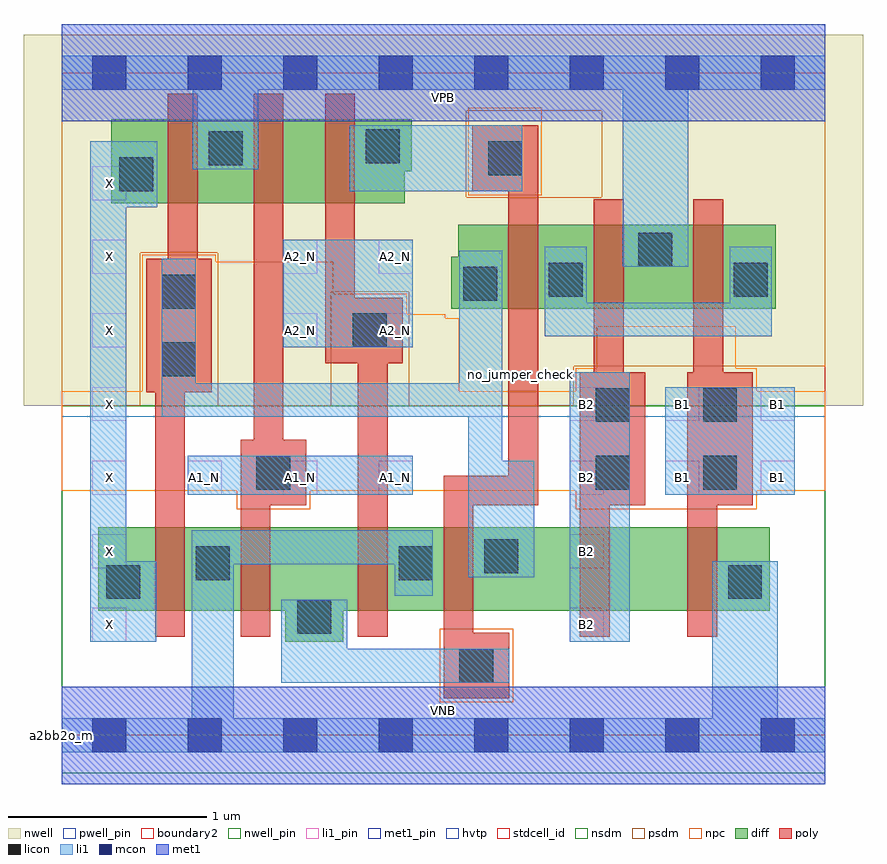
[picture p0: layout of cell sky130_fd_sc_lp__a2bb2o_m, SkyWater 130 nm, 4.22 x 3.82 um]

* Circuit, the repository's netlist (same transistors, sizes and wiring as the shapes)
* Copyright 2020 The SkyWater PDK Authors
*
* Licensed under the Apache License, Version 2.0 (the "License");
* you may not use this file except in compliance with the License.
* You may obtain a copy of the License at
*
*     https://www.apache.org/licenses/LICENSE-2.0
*
* Unless required by applicable law or agreed to in writing, software
* distributed under the License is distributed on an "AS IS" BASIS,
* WITHOUT WARRANTIES OR CONDITIONS OF ANY KIND, either express or implied.
* See the License for the specific language governing permissions and
* limitations under the License.
*
* SPDX-License-Identifier: Apache-2.0

.SUBCKT sky130_fd_sc_lp__a2bb2o_m A1_N A2_N B1 B2 VGND VNB VPB VPWR X
*.PININFO A1_N:I A2_N:I B1:I B2:I VGND:I VNB:I VPB:I VPWR:I X:O
MMIN2 X y VGND VNB sky130_fd_pr__nfet_01v8 m=1 w=0.42U l=0.15U mult=1 sa=0.265
+ sb=0.265 sd=0.28 area=0.063 perim=1.14
MMNnor0 inor A1_N VGND VNB sky130_fd_pr__nfet_01v8 m=1 w=0.42U l=0.15U mult=1 sa=0.265
+ sb=0.265 sd=0.28 area=0.063 perim=1.14
MMNnor1 inor A2_N VGND VNB sky130_fd_pr__nfet_01v8 m=1 w=0.42U l=0.15U mult=1 sa=0.265
+ sb=0.265 sd=0.28 area=0.063 perim=1.14
MMNaoi10 VGND B1 sndNB1 VNB sky130_fd_pr__nfet_01v8 m=1 w=0.42U l=0.15U mult=1
+ sa=0.265 sb=0.265 sd=0.28 area=0.063 perim=1.14
MMNaoi11 sndNB1 B2 y VNB sky130_fd_pr__nfet_01v8 m=1 w=0.42U l=0.15U mult=1 sa=0.265
+ sb=0.265 sd=0.28 area=0.063 perim=1.14
MMNaoi20 y inor VGND VNB sky130_fd_pr__nfet_01v8 m=1 w=0.42U l=0.15U mult=1 sa=0.265
+ sb=0.265 sd=0.28 area=0.063 perim=1.14
MMIP2 X y VPWR VPB sky130_fd_pr__pfet_01v8_hvt m=1 w=0.42U l=0.15U mult=1 sa=0.265
+ sb=0.265 sd=0.28 area=0.063 perim=1.14
MMPnor0 VPWR A1_N sndPA1N VPB sky130_fd_pr__pfet_01v8_hvt m=1 w=0.42U l=0.15U mult=1
+ sa=0.265 sb=0.265 sd=0.28 area=0.063 perim=1.14
MMPnor1 sndPA1N A2_N inor VPB sky130_fd_pr__pfet_01v8_hvt m=1 w=0.42U l=0.15U mult=1
+ sa=0.265 sb=0.265 sd=0.28 area=0.063 perim=1.14
MMPaoi10 pmid B1 VPWR VPB sky130_fd_pr__pfet_01v8_hvt m=1 w=0.42U l=0.15U mult=1
+ sa=0.265 sb=0.265 sd=0.28 area=0.063 perim=1.14
MMPaoi11 pmid B2 VPWR VPB sky130_fd_pr__pfet_01v8_hvt m=1 w=0.42U l=0.15U mult=1
+ sa=0.265 sb=0.265 sd=0.28 area=0.063 perim=1.14
MMPaoi20 y inor pmid VPB sky130_fd_pr__pfet_01v8_hvt m=1 w=0.42U l=0.15U mult=1
+ sa=0.265 sb=0.265 sd=0.28 area=0.063 perim=1.14
.ENDS sky130_fd_sc_lp__a2bb2o_m

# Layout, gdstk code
import gdstk
lib = gdstk.Library(unit=1e-6, precision=1e-09)
def R(c, l, rs):  # rectangles x0, y0, x1, y1
    for r in rs: c.add(gdstk.rectangle(r[:2], r[2:], *l))
def A(c, l, x, y, w, h, nx, ny, dx, dy):  # array of equal rectangles
    R(c, l, [(x+i*dx, y+j*dy, x+i*dx+w, y+j*dy+h) for i in range(nx) for j in range(ny)])
def P(c, l, *ps):  # polygons
    for p in ps: c.add(gdstk.Polygon(p, *l))
nwell_pin = (64, 16)
nwell = (64, 20)
diff = (65, 20)
poly = (66, 20)
licon = (66, 44)
li1_pin = (67, 16)
li1 = (67, 20)
mcon = (67, 44)
met1_pin = (68, 16)
met1 = (68, 20)
hvtp = (78, 44)
stdcell_id = (81, 4)
nsdm = (93, 44)
psdm = (94, 20)
npc = (95, 20)
pwell_pin = (122, 16)
boundary2 = (236, 0)

sky130_fd_sc_lp__a2bb2o_ = lib.new_cell('sky130_fd_sc_lp__a2bb2o_m')
R(sky130_fd_sc_lp__a2bb2o_, nwell_pin, [(0,3.085,3.84,3.33)])
R(sky130_fd_sc_lp__a2bb2o_, nwell, [(-0.19,1.655,4.03,3.52)])
P(sky130_fd_sc_lp__a2bb2o_, diff, [(1.76,3.095),(0.25,3.095),(0.25,2.675),(1.725,2.675),(1.725,2.835),(1.76,2.835)],
  [(3.56,1.045),(0.185,1.045),(0.185,0.625),(1.125,0.625),(1.125,0.47),(1.415,0.47),(1.415,0.625),(3.56,0.625)],
  [(3.59,2.565),(1.995,2.565),(1.995,2.405),(1.96,2.405),(1.96,2.145),(3.59,2.145)])
P(sky130_fd_sc_lp__a2bb2o_, poly, [(0.755,2.395),(0.685,2.395),(0.685,3.225),(0.535,3.225),(0.535,2.395),(0.425,2.395),(0.425,1.725),(0.47,1.725),(0.47,0.495),(0.62,0.495),(0.62,1.725),(0.755,1.725)],
  [(1.23,1.485),(1.115,1.485),(1.115,3.225),(0.965,3.225),(0.965,1.485),(0.9,1.485),(0.9,0.495),(1.05,0.495),(1.05,1.155),(1.23,1.155)],
  [(1.715,2.2),(1.475,2.2),(1.475,3.225),(1.325,3.225),(1.325,1.87),(1.49,1.87),(1.49,0.495),(1.64,0.495),(1.64,1.87),(1.715,1.87)],
  [(2.395,3.065),(2.065,3.065),(2.065,2.735),(2.245,2.735),(2.245,1.305),(1.92,1.305),(1.92,0.185),(2.25,0.185),(2.25,0.515),(2.07,0.515),(2.07,1.155),(2.395,1.155)],
  [(2.935,1.825),(2.825,1.825),(2.825,2.695),(2.675,2.695),(2.675,1.825),(2.605,1.825),(2.605,0.495),(2.755,0.495),(2.755,1.155),(2.935,1.155)],
  [(3.475,1.825),(3.325,1.825),(3.325,2.695),(3.175,2.695),(3.175,1.825),(3.145,1.825),(3.145,0.495),(3.295,0.495),(3.295,1.155),(3.475,1.155)])
R(sky130_fd_sc_lp__a2bb2o_, licon, [(2,0.265,2.17,0.435), (1.185,0.51,1.355,0.68), (0.225,0.685,0.395,0.855), (3.35,0.685,3.52,0.855), (0.675,0.78,0.845,0.95), (1.695,0.78,1.865,0.95), (2.125,0.815,2.295,0.985), (0.98,1.235,1.15,1.405), (2.685,1.235,2.855,1.405), (3.225,1.235,3.395,1.405), (2.685,1.575,2.855,1.745), (3.225,1.575,3.395,1.745), (0.505,1.805,0.675,1.975), (1.465,1.95,1.635,2.12), (0.505,2.145,0.675,2.315), (2.02,2.185,2.19,2.355), (2.45,2.205,2.62,2.375), (3.38,2.205,3.55,2.375), (2.9,2.355,3.07,2.525), (0.29,2.735,0.46,2.905), (2.145,2.815,2.315,2.985), (0.74,2.865,0.91,3.035), (1.53,2.875,1.7,3.045)])
A(sky130_fd_sc_lp__a2bb2o_, li1_pin, 0.155, 1.21, 0.17, 0.17, 4, 1, 0.48, 0)
A(sky130_fd_sc_lp__a2bb2o_, li1_pin, 2.555, 1.21, 0.17, 0.17, 3, 2, 0.48, 0.37)
A(sky130_fd_sc_lp__a2bb2o_, li1_pin, 0.155, 1.58, 0.17, 0.17, 1, 4, 0, 0.37)
R(sky130_fd_sc_lp__a2bb2o_, li1_pin, [(0.155,0.47,0.325,0.64), (2.555,0.47,2.725,0.64), (0.155,0.84,0.325,1.01), (2.555,0.84,2.725,1.01), (1.115,1.95,1.285,2.12), (1.595,1.95,1.765,2.12), (1.115,2.32,1.285,2.49), (1.595,2.32,1.765,2.49)])
R(sky130_fd_sc_lp__a2bb2o_, li1, [(2.555,0.47,2.855,1.825), (0.635,1.21,1.765,1.405), (3.035,1.21,3.685,1.75), (1.115,1.95,1.765,2.49), (1.45,2.735,2.315,3.065)])
P(sky130_fd_sc_lp__a2bb2o_, li1, [(2.82,2.355),(2.82,3.245),(0.99,3.245),(0.99,2.845),(0.66,2.845),(0.66,3.245),(0,3.245),(0,3.415),(3.84,3.415),(3.84,3.245),(3.15,3.245),(3.15,2.355)],
  [(3.27,0.085),(3.27,0.875),(3.6,0.875),(3.6,0.085),(3.84,0.085),(3.84,-0.085),(0,-0.085),(0,0.085),(0.655,0.085),(0.655,1.03),(1.865,1.03),(1.865,0.7),(1.675,0.7),(1.675,0.86),(0.865,0.86),(0.865,0.085)],
  [(2.045,0.795),(2.045,1.6),(0.505,1.6),(0.505,2.395),(0.675,2.395),(0.675,1.77),(2,1.77),(2,2.435),(2.215,2.435),(2.215,1.38),(2.375,1.38),(2.375,0.795)],
  [(1.105,0.265),(1.105,0.68),(1.435,0.68),(1.435,0.435),(2.25,0.435),(2.25,0.265)],
  [(0.145,0.47),(0.145,2.985),(0.48,2.985),(0.48,2.655),(0.325,2.655),(0.325,0.875),(0.475,0.875),(0.475,0.47)],
  [(3.36,2.175),(3.36,2.455),(3.57,2.455),(3.57,2.005),(2.43,2.005),(2.43,2.455),(2.64,2.455),(2.64,2.175)])
A(sky130_fd_sc_lp__a2bb2o_, mcon, 0.155, -0.085, 0.17, 0.17, 8, 2, 0.48, 3.33)
R(sky130_fd_sc_lp__a2bb2o_, met1_pin, [(0,0,3.84,0.245), (0,3.085,3.84,3.33)])
R(sky130_fd_sc_lp__a2bb2o_, met1, [(0,-0.245,3.84,0.245), (0,3.085,3.84,3.575)])
R(sky130_fd_sc_lp__a2bb2o_, hvtp, [(0,1.6,3.84,3.33)])
R(sky130_fd_sc_lp__a2bb2o_, stdcell_id, [(0,0,3.84,3.33)])
R(sky130_fd_sc_lp__a2bb2o_, nsdm, [(0,-0.19,3.84,1.655)])
P(sky130_fd_sc_lp__a2bb2o_, psdm, [(3.84,3.52),(2.715,3.52),(2.715,2.705),(2.035,2.705),(2.035,3.14),(2.715,3.14),(2.715,3.52),(0,3.52),(0,1.655),(0.395,1.655),(0.395,2.425),(0.785,2.425),(0.785,1.655),(1.355,1.655),(1.355,2.23),(1.745,2.23),(1.745,1.655),(2.575,1.655),(2.575,1.855),(3.84,1.855)])
R(sky130_fd_sc_lp__a2bb2o_, npc, [(1.9,0.165,2.27,0.535), (2.045,2.715,2.415,3.155)])
P(sky130_fd_sc_lp__a2bb2o_, npc, [(3.84,1.73),(3.495,1.73),(3.495,1.845),(3.39,1.845),(3.39,2.055),(2.69,2.055),(2.69,1.845),(2.585,1.845),(2.585,1.73),(2,1.73),(2,2.095),(1.93,2.095),(1.93,2.115),(1.735,2.115),(1.735,2.22),(1.365,2.22),(1.365,2.38),(0.775,2.38),(0.775,2.415),(0.405,2.415),(0.405,1.73),(0,1.73),(0,1.23),(0.88,1.23),(0.88,1.135),(1.25,1.135),(1.25,1.23),(2.585,1.23),(2.585,1.135),(3.495,1.135),(3.495,1.23),(3.84,1.23)])
R(sky130_fd_sc_lp__a2bb2o_, pwell_pin, [(0,0,3.84,0.245)])
R(sky130_fd_sc_lp__a2bb2o_, boundary2, [(0,0,3.84,3.33)])
sky130_fd_sc_lp__a2bb2o_.add(gdstk.Label('VNB', (1.92,0.123), layer=64, texttype=59))
sky130_fd_sc_lp__a2bb2o_.add(gdstk.Label('VPB', (1.92,3.208), layer=64, texttype=5))
sky130_fd_sc_lp__a2bb2o_.add(gdstk.Label('a2bb2o_m', (0,0), layer=83, texttype=44))
sky130_fd_sc_lp__a2bb2o_.add(gdstk.Label('no_jumper_check', (2.305,1.815), layer=83, texttype=44))
sky130_fd_sc_lp__a2bb2o_.add(gdstk.Label('VPWR', (1.92,3.208), layer=68, texttype=5))
sky130_fd_sc_lp__a2bb2o_.add(gdstk.Label('VGND', (1.92,0.123), layer=68, texttype=5))
sky130_fd_sc_lp__a2bb2o_.add(gdstk.Label('A1_N', (0.72,1.295), layer=67, texttype=5))
sky130_fd_sc_lp__a2bb2o_.add(gdstk.Label('A1_N', (1.2,1.295), layer=67, texttype=5))
sky130_fd_sc_lp__a2bb2o_.add(gdstk.Label('A1_N', (1.68,1.295), layer=67, texttype=5))
sky130_fd_sc_lp__a2bb2o_.add(gdstk.Label('A2_N', (1.2,2.035), layer=67, texttype=5))
sky130_fd_sc_lp__a2bb2o_.add(gdstk.Label('A2_N', (1.2,2.405), layer=67, texttype=5))
sky130_fd_sc_lp__a2bb2o_.add(gdstk.Label('A2_N', (1.68,2.035), layer=67, texttype=5))
sky130_fd_sc_lp__a2bb2o_.add(gdstk.Label('A2_N', (1.68,2.405), layer=67, texttype=5))
sky130_fd_sc_lp__a2bb2o_.add(gdstk.Label('B1', (3.12,1.295), layer=67, texttype=5))
sky130_fd_sc_lp__a2bb2o_.add(gdstk.Label('B1', (3.12,1.665), layer=67, texttype=5))
sky130_fd_sc_lp__a2bb2o_.add(gdstk.Label('B1', (3.6,1.295), layer=67, texttype=5))
sky130_fd_sc_lp__a2bb2o_.add(gdstk.Label('B1', (3.6,1.665), layer=67, texttype=5))
sky130_fd_sc_lp__a2bb2o_.add(gdstk.Label('B2', (2.64,0.555), layer=67, texttype=5))
sky130_fd_sc_lp__a2bb2o_.add(gdstk.Label('B2', (2.64,0.925), layer=67, texttype=5))
sky130_fd_sc_lp__a2bb2o_.add(gdstk.Label('B2', (2.64,1.295), layer=67, texttype=5))
sky130_fd_sc_lp__a2bb2o_.add(gdstk.Label('B2', (2.64,1.665), layer=67, texttype=5))
sky130_fd_sc_lp__a2bb2o_.add(gdstk.Label('X', (0.24,0.555), layer=67, texttype=5))
sky130_fd_sc_lp__a2bb2o_.add(gdstk.Label('X', (0.24,0.925), layer=67, texttype=5))
sky130_fd_sc_lp__a2bb2o_.add(gdstk.Label('X', (0.24,1.295), layer=67, texttype=5))
sky130_fd_sc_lp__a2bb2o_.add(gdstk.Label('X', (0.24,1.665), layer=67, texttype=5))
sky130_fd_sc_lp__a2bb2o_.add(gdstk.Label('X', (0.24,2.035), layer=67, texttype=5))
sky130_fd_sc_lp__a2bb2o_.add(gdstk.Label('X', (0.24,2.405), layer=67, texttype=5))
sky130_fd_sc_lp__a2bb2o_.add(gdstk.Label('X', (0.24,2.775), layer=67, texttype=5))

lib.write_gds('sky130_fd_sc_lp__a2bb2o_m.gds')
